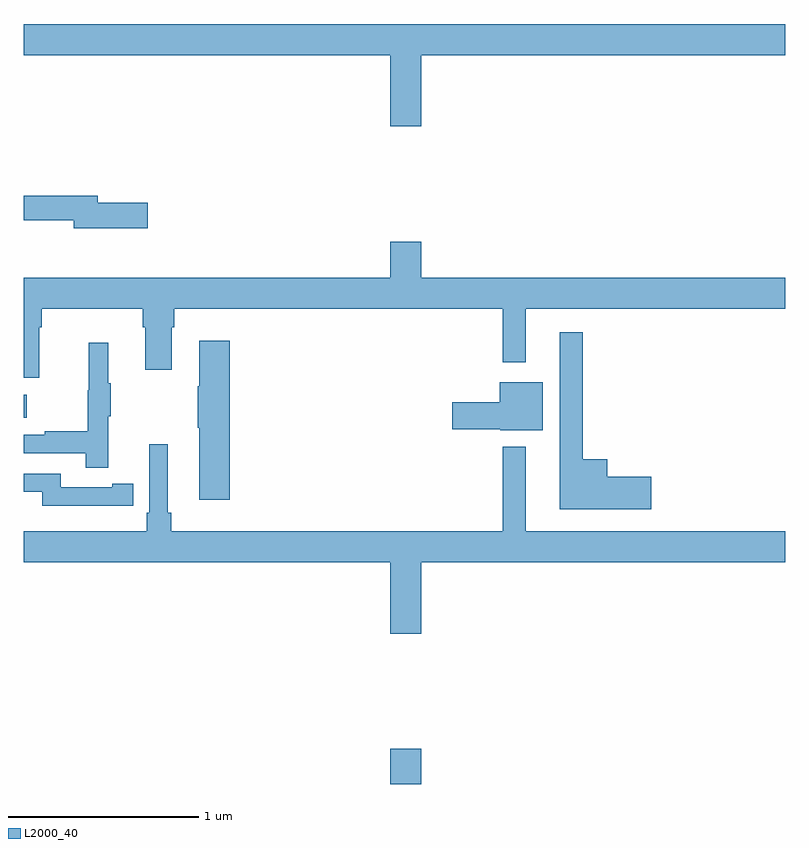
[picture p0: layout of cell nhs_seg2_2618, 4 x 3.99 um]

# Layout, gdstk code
import gdstk
lib = gdstk.Library(unit=1e-6, precision=1e-09)
def R(c, l, rs):  # rectangles x0, y0, x1, y1
    for r in rs: c.add(gdstk.rectangle(r[:2], r[2:], *l))
def P(c, l, *ps):  # polygons
    for p in ps: c.add(gdstk.Polygon(p, *l))
L2000_40 = (2000, 40)

nhs_seg2_2618 = lib.new_cell('nhs_seg2_2618')
R(nhs_seg2_2618, L2000_40, [(248.924,651.8,249.088,651.985), (247,653.723,247.015,653.845)])
P(nhs_seg2_2618, L2000_40, [(249.088,655.628),(251,655.628),(251,655.792),(247,655.792),(247,655.628),(248.924,655.628),(248.924,655.254),(249.088,655.254)],
  [(247.651,654.854),(247.39,654.854),(247.39,654.89),(247,654.89),(247,654.762),(247.262,654.762),(247.262,654.719),(247.651,654.719)],
  [(247.081,654.2),(247.094,654.2),(247.094,654.296),(247.625,654.296),(247.625,654.2),(247.637,654.2),(247.637,653.976),(247.777,653.976),(247.777,654.2),(247.79,654.2),(247.79,654.296),(249.516,654.296),(249.516,654.015),(249.637,654.015),(249.637,654.296),(251,654.296),(251,654.46),(249.088,654.46),(249.088,654.649),(248.924,654.649),(248.924,654.46),(247,654.46),(247,653.934),(247.081,653.934)],
  [(250.297,653.414),(250.066,653.414),(250.066,653.506),(249.937,653.506),(249.937,654.172),(249.815,654.172),(249.815,653.243),(250.297,653.243)],
  [(248.081,654.127),(247.922,654.127),(247.922,653.888),(247.915,653.888),(247.915,653.671),(247.922,653.671),(247.922,653.292),(248.081,653.292)],
  [(247.445,653.731),(247.456,653.731),(247.456,653.905),(247.445,653.905),(247.445,654.118),(247.342,654.118),(247.342,653.868),(247.335,653.868),(247.335,653.654),(247.111,653.654),(247.111,653.634),(247,653.634),(247,653.538),(247.327,653.538),(247.327,653.46),(247.445,653.46)],
  [(249.727,653.911),(249.5,653.911),(249.5,653.805),(249.252,653.805),(249.252,653.663),(249.504,653.663),(249.504,653.657),(249.727,653.657)],
  [(249.088,652.964),(251,652.964),(251,653.128),(249.637,653.128),(249.637,653.572),(249.516,653.572),(249.516,653.128),(247.775,653.128),(247.775,653.224),(247.756,653.224),(247.756,653.584),(247.659,653.584),(247.659,653.224),(247.646,653.224),(247.646,653.128),(247,653.128),(247,652.964),(248.924,652.964),(248.924,652.59),(249.088,652.59)],
  [(247.466,653.262),(247.574,653.262),(247.574,653.378),(247.466,653.378),(247.466,653.358),(247.194,653.358),(247.194,653.43),(247,653.43),(247,653.334),(247.098,653.334),(247.098,653.261),(247.466,653.261)])

lib.write_gds('nhs_seg2_2618.gds')
